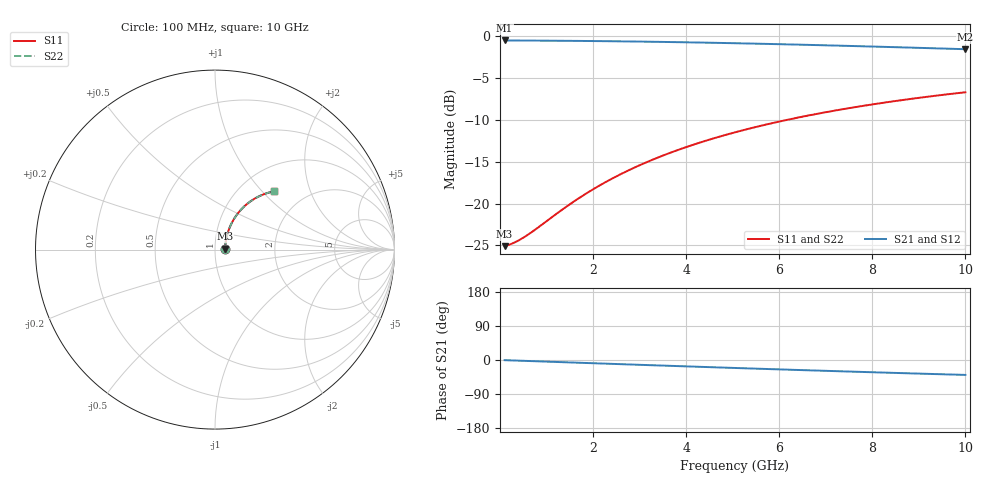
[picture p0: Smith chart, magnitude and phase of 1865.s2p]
# Hz S RI R 50.00
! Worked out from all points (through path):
!   100 points, 100 MHz to 10 GHz, reference 50 ohm
!   highest |S21| = -0.49 dB at 100 MHz (marker M1); lowest = -1.5 dB at 10 GHz (marker M2)
!   group delay of S21, straight-line fit = 11 ps
!   lowest |S11| = -25.1 dB at 100 MHz (marker M3), VSWR 1.12, Z = 55.9 + j0.561 ohm
!   |S11| at or under -10 dB: start of sweep to 6.162 GHz
!   |S22| runs from -25.1 to -6.7 dB; largest |S21 - S12| = 0
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1e8  0.0554 0.00501  0.9446 -0.00704  0.9446 -0.00704  0.0554 0.00501
2e8  0.0559 0.01  0.9441 -0.0141  0.9441 -0.0141  0.0559 0.01
3e8  0.0563 0.015  0.9437 -0.0211  0.9437 -0.0211  0.0563 0.015
5e8  0.0573 0.0249  0.9427 -0.0351  0.9427 -0.0351  0.0573 0.0249
7e8  0.0584 0.0349  0.9414 -0.0491  0.9414 -0.0491  0.0584 0.0349
1.4e9  0.0646 0.0691  0.935 -0.0976  0.935 -0.0976  0.0646 0.0691
1.8e9  0.0696 0.0883  0.9297 -0.1249  0.9297 -0.1249  0.0696 0.0883
2.2e9  0.0756 0.107  0.9233 -0.1518  0.9233 -0.1518  0.0756 0.107
2.6e9  0.0827 0.1253  0.9159 -0.1783  0.9159 -0.1783  0.0827 0.1253
3e9  0.0907 0.1431  0.9073 -0.2042  0.9073 -0.2042  0.0907 0.1431
3.4e9  0.0997 0.1602  0.8977 -0.2295  0.8977 -0.2295  0.0997 0.1602
3.8e9  0.1097 0.1767  0.8872 -0.2541  0.8872 -0.2541  0.1097 0.1767
4.2e9  0.1204 0.1924  0.8758 -0.2781  0.8758 -0.2781  0.1204 0.1924
4.6e9  0.1319 0.2074  0.8635 -0.3013  0.8635 -0.3013  0.1319 0.2074
5.1e9  0.1473 0.2249  0.847 -0.3291  0.847 -0.3291  0.1473 0.2249
5.5e9  0.1603 0.2381  0.8331 -0.3505  0.8331 -0.3505  0.1603 0.2381
5.9e9  0.1739 0.2503  0.8185 -0.371  0.8185 -0.371  0.1739 0.2503
6.7e9  0.2025 0.2721  0.7877 -0.4094  0.7877 -0.4094  0.2025 0.2721
7.5e9  0.2325 0.2903  0.7552 -0.4442  0.7552 -0.4442  0.2325 0.2903
8.4e9  0.2673 0.3065  0.7171 -0.4793  0.7171 -0.4793  0.2673 0.3065
9.2e9  0.2988 0.3172  0.6825 -0.5068  0.6825 -0.5068  0.2988 0.3172
1e10  0.3302 0.3245  0.6476 -0.531  0.6476 -0.531  0.3302 0.3245
